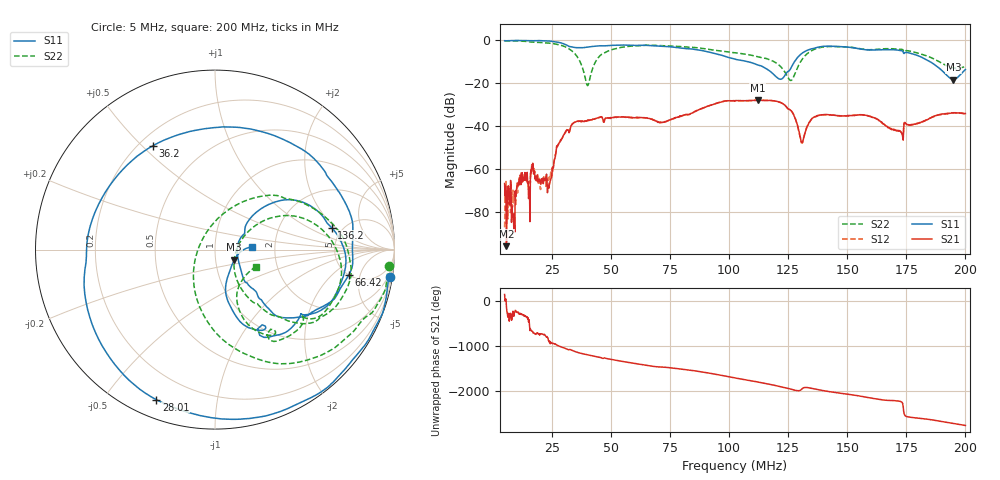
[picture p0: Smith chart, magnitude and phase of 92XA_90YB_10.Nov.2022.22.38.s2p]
!Keysight Technologies N9917A: A.12.46
!Date: Thursday, 10 November 2022 22:38:50
!Timezone: (UTC) Coordinated Universal Time
!Model: N9917A
!Serial: MY56071016
!GPS Latitude:
!GPS Longitude:
!GPS TimeStamp: 0001-01-01 00:00:00Z
!GPS Seconds Since Last Read: 0
!CHECKSUM:1982755722
!Correction: S11(ON U)S21(ON U)S12(ON U)S22(ON U)
!S2P File: Measurements:S11,S21,S12,S22:
# Hz S DB R 50
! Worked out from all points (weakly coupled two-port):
!   1001 points, 5 MHz to 200 MHz, reference 50 ohm
!   highest |S21| = -27.93 dB at 112.1 MHz (marker M1); lowest = -96.1 dB at 5.78 MHz (marker M2)
!   lowest |S11| = -18.3 dB at 194.9 MHz (marker M3), VSWR 1.28, Z = 61.6 - j7.12 ohm
!   |S11| at or under -10 dB: 108.2 MHz to 127.6 MHz (19.46 MHz wide, 16.5 % of centre); 185.1 MHz to end of sweep
!   |S22| runs from -21.2 to -0.2 dB; largest |S21 - S12| = 0.0013
!   S11 on the Smith chart (normalised r, x): 5 MHz: 1, -13; 28.01 MHz: 0.08, -0.68; 36.2 MHz: 0.25, +0.54; 66.42 MHz: 4.98, -3.33; 136.2 MHz: 4.10, +1.78; 200 MHz: 1.53, +0.05
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5000000  -0.13 -8.9  -66.84 138.3  -87.31 6.1  -0.23 -5.3
5780000  -0.17 -10.7  -96.12 -140.1  -85.55 -8.9  -0.25 -6.7
8900000  -0.05 -17.9  -88.09 15.1  -73.15 155.2  -0.23 -11.8
1.6895e7  -0.15 -40.0  -57.35 31.5  -58.49 24.5  -0.80 -25.5
2.3915e7  -0.30 -74.2  -67.54 155.7  -63.80 -168.5  -1.28 -39.2
2.801e7  -0.94 -111.4  -47.99 69.3  -48.17 72.3  -2.05 -52.1
3.2105e7  -2.70 -171.3  -42.23 -13.3  -42.57 -11.3  -3.85 -70.0
3.62e7  -3.42 120.8  -37.74 -75.2  -37.89 -75.4  -8.42 -98.8
3.7565e7  -3.44 102.1  -37.68 -94.8  -37.96 -94.3  -11.59 -114.8
4.0295e7  -3.09 73.4  -37.10 -125.5  -37.40 -124.4  -20.94 142.5
4.517e7  -2.51 42.6  -35.91 -177.7  -35.92 -177.9  -7.34 44.9
6.6425e7  -2.40 -10.8  -36.57 -9.3  -36.63 -9.0  -2.26 -13.2
7.013e7  -2.70 -16.8  -38.21 -32.3  -38.18 -33.2  -2.37 -18.4
1.025e8  -8.75 -47.7  -28.39 79.8  -28.22 81.3  -5.78 -46.5
1.12055e8  -11.44 -46.5  -27.93 -8.5  -27.99 -8.6  -7.58 -51.4
1.26095e8  -13.05 38.8  -32.73 -167.8  -32.61 -167.4  -18.72 -14.2
1.30775e8  -6.08 34.0  -47.62 -167.5  -47.81 -167.4  -9.07 29.8
1.35065e8  -3.92 14.7  -36.58 -151.9  -36.47 -152.0  -4.70 13.5
1.36235e8  -3.59 10.6  -35.68 -165.7  -35.60 -166.0  -4.10 8.4
1.6763e8  -4.30 -45.4  -40.79 -59.8  -40.79 -58.7  -3.86 -43.9
1.9493e8  -18.31 -28.0  -33.90 146.0  -33.79 146.8  -12.89 -47.1
2e8  -13.60 4.3  -34.20 103.0  -34.27 102.5  -12.18 -23.1
